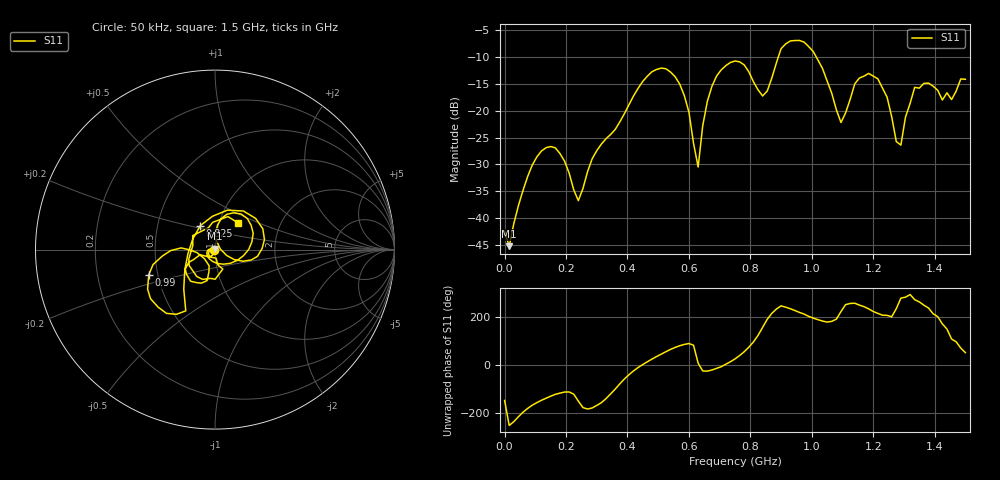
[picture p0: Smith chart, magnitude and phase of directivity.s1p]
! Created with skrf 1.8.0 (http://scikit-rf.org).
# Hz S RI R 50.0
!freq ReS11 ImS11
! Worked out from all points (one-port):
!   101 points, 50 kHz to 1.5 GHz, reference 50 ohm
!   lowest |S11| = -45.2 dB at 15.05 MHz (marker M1), VSWR 1.01, Z = 49.8 + j0.523 ohm
!   |S11| at or under -10 dB: start of sweep to 891 MHz; 1.015 GHz to end of sweep
!   S11 on the Smith chart (normalised r, x): 50 kHz: 0.99, -0.01; 825 MHz: 0.82, +0.22; 990 MHz: 0.45, -0.15; 1.5 GHz: 1.23, +0.38
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50000  -0.00649 -0.0038
1.50495e7  -0.00153 0.00525
1.050465e8  -0.0346 -0.0136
1.950435e8  -0.0141 -0.0309
2.40042e8  -0.0129 -0.00674
2.850405e8  -0.0356 0.000542
3.750375e8  0.013 -0.0775
4.80034e8  0.2128 0.0907
5.70031e8  0.0355 0.1734
6.30029e8  0.0297 0.00302
6.450285e8  0.0648 -0.0326
6.750275e8  0.1561 -0.0648
7.50025e8  0.2661 0.1165
8.250225e8  -0.082 0.1333
8.550215e8  -0.1509 -0.0234
9.0002e8  -0.1629 -0.3414
9.450185e8  -0.3171 -0.3204
9.90017e8  -0.3693 -0.1412
1.095014e9  -0.0585 -0.051
1.125012e9  -0.0337 -0.1234
1.155012e9  -0.0761 -0.1869
1.21501e9  -0.1655 -0.1091
1.290007e9  0.00572 -0.0474
1.320006e9  0.0435 -0.1085
1.335006e9  0.00104 -0.1652
1.410003e9  -0.146 -0.0521
1.455002e9  -0.0364 0.1217
1.5e9  0.1269 0.1497
